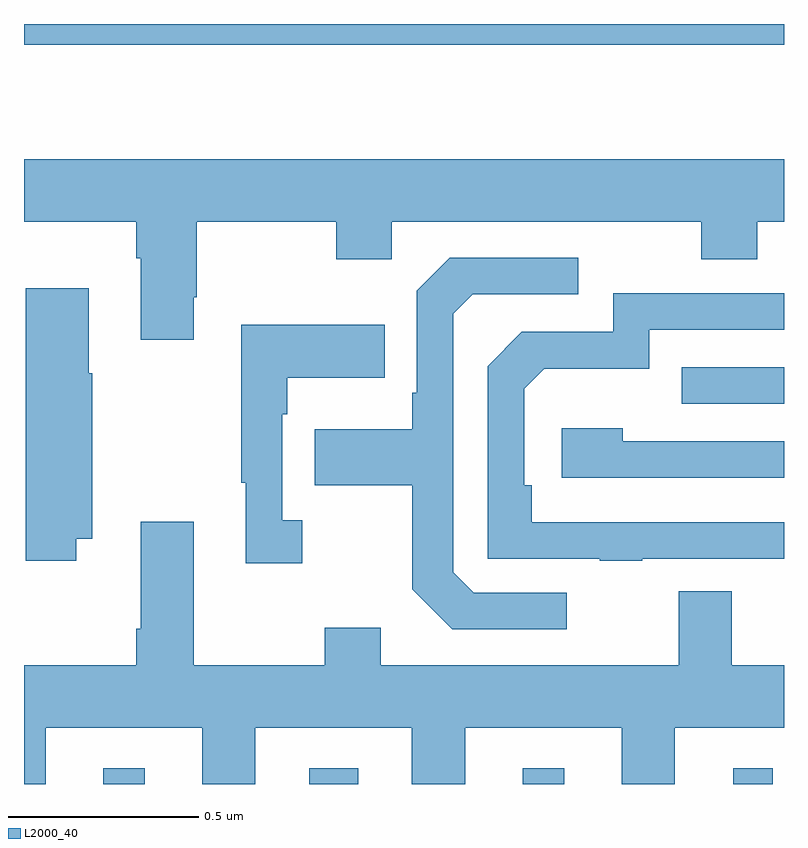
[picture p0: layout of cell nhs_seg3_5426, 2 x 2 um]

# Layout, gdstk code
import gdstk
lib = gdstk.Library(unit=1e-6, precision=1e-09)
def R(c, l, rs):  # rectangles x0, y0, x1, y1
    for r in rs: c.add(gdstk.rectangle(r[:2], r[2:], *l))
def P(c, l, *ps):  # polygons
    for p in ps: c.add(gdstk.Polygon(p, *l))
L2000_40 = (2000, 40)

nhs_seg3_5426 = lib.new_cell('nhs_seg3_5426')
R(nhs_seg3_5426, L2000_40, [(178.208,735.4,178.318,735.442), (178.751,735.4,178.879,735.442), (179.312,735.4,179.422,735.442), (179.867,735.4,179.971,735.442), (179.731,736.401,180,736.497), (178,737.346,180,737.4)])
P(nhs_seg3_5426, L2000_40, [(178.447,736.681),(178.455,736.681),(178.455,736.88),(178.822,736.88),(178.822,736.781),(178.968,736.781),(178.968,736.88),(179.782,736.88),(179.782,736.781),(179.929,736.781),(179.929,736.88),(180,736.88),(180,737.044),(178,737.044),(178,736.88),(178.295,736.88),(178.295,736.784),(178.307,736.784),(178.307,736.569),(178.447,736.569)],
  [(179.428,735.903),(179.184,735.903),(179.13,735.957),(179.13,736.638),(179.181,736.689),(179.458,736.689),(179.458,736.785),(179.121,736.785),(179.034,736.698),(179.034,736.429),(179.022,736.429),(179.022,736.333),(178.765,736.333),(178.765,736.186),(179.022,736.186),(179.022,735.913),(179.127,735.807),(179.428,735.807)],
  [(178.138,736.046),(178.179,736.046),(178.179,736.481),(178.171,736.481),(178.171,736.705),(178.004,736.705),(178.004,735.987),(178.138,735.987)],
  [(179.627,735.993),(180,735.993),(180,736.089),(179.336,736.089),(179.336,736.186),(179.316,736.186),(179.316,736.44),(179.369,736.493),(179.646,736.493),(179.646,736.596),(180,736.596),(180,736.692),(179.55,736.692),(179.55,736.59),(179.31,736.59),(179.22,736.5),(179.22,735.993),(179.515,735.993),(179.515,735.988),(179.627,735.988)],
  [(178.732,736.094),(178.68,736.094),(178.68,736.373),(178.693,736.373),(178.693,736.469),(178.949,736.469),(178.949,736.609),(178.572,736.609),(178.572,736.193),(178.583,736.193),(178.583,735.981),(178.732,735.981)],
  [(180,736.302),(179.576,736.302),(179.576,736.336),(179.415,736.336),(179.415,736.206),(180,736.206)],
  [(178.057,735.548),(178.469,735.548),(178.469,735.4),(178.609,735.4),(178.609,735.548),(179.021,735.548),(179.021,735.4),(179.161,735.4),(179.161,735.548),(179.573,735.548),(179.573,735.4),(179.713,735.4),(179.713,735.548),(180,735.548),(180,735.712),(179.863,735.712),(179.863,735.907),(179.723,735.907),(179.723,735.712),(178.939,735.712),(178.939,735.811),(178.792,735.811),(178.792,735.712),(178.447,735.712),(178.447,736.09),(178.307,736.09),(178.307,735.808),(178.295,735.808),(178.295,735.712),(178,735.712),(178,735.4),(178.057,735.4)])

lib.write_gds('nhs_seg3_5426.gds')
